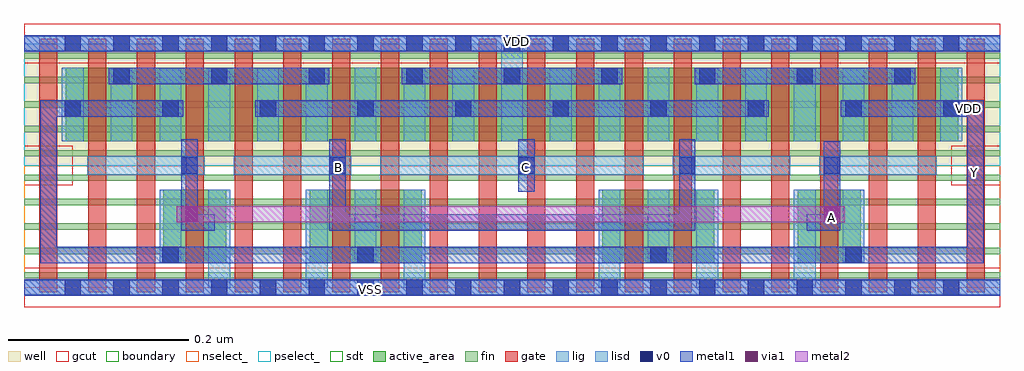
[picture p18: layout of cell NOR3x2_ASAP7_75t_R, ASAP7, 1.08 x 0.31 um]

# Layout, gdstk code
import gdstk
lib = gdstk.Library(unit=1e-6, precision=1e-09)
def R(c, l, rs):  # rectangles x0, y0, x1, y1
    for r in rs: c.add(gdstk.rectangle(r[:2], r[2:], *l))
def A(c, l, x, y, w, h, nx, ny, dx, dy):  # array of equal rectangles
    R(c, l, [(x+i*dx, y+j*dy, x+i*dx+w, y+j*dy+h) for i in range(nx) for j in range(ny)])
def P(c, l, *ps):  # polygons
    for p in ps: c.add(gdstk.Polygon(p, *l))
well = (1, 0)
fin = (2, 0)
gate = (7, 0)
gcut = (10, 0)
active_area = (11, 0)
nselect_ = (12, 0)
pselect_ = (13, 0)
lig = (16, 0)
lisd = (17, 0)
v0 = (18, 0)
metal1 = (19, 0)
metal2 = (20, 0)
via1 = (21, 0)
sdt = (88, 0)
boundary = (100, 0)

nor3x2_asap7_75t_r = lib.new_cell('NOR3x2_ASAP7_75t_R')
R(nor3x2_asap7_75t_r, well, [(0,0.135,1.08,0.27)])
A(nor3x2_asap7_75t_r, fin, 0, 0.01, 1.08, 0.007, 1, 10, 0, 0.027)
A(nor3x2_asap7_75t_r, gate, 0.017, -0.005, 0.02, 0.28, 20, 1, 0.054, 0)
R(nor3x2_asap7_75t_r, gcut, [(0,-0.022,1.08,0.022), (0,0.113,0.054,0.157), (1.026,0.113,1.08,0.157), (0,0.248,1.08,0.292)])
R(nor3x2_asap7_75t_r, active_area, [(0.154,0.027,0.224,0.108), (0.316,0.027,0.44,0.108), (0.64,0.027,0.764,0.108), (0.856,0.027,0.926,0.108), (0.046,0.162,1.034,0.243)])
R(nor3x2_asap7_75t_r, nselect_, [(0,0,1.08,0.135)])
R(nor3x2_asap7_75t_r, pselect_, [(0,0.135,1.08,0.27)])
R(nor3x2_asap7_75t_r, lig, [(0,-0.008,1.08,0.008), (0.07,0.125,0.2,0.145), (0.232,0.125,0.362,0.145), (0.394,0.125,0.686,0.145), (0.718,0.125,0.848,0.145), (0.88,0.125,1.01,0.145), (0,0.262,1.08,0.278)])
A(nor3x2_asap7_75t_r, lisd, 0.204, 0, 0.024, 0.108, 3, 1, 0.108, 0)
A(nor3x2_asap7_75t_r, lisd, 0.636, 0, 0.024, 0.108, 3, 1, 0.108, 0)
A(nor3x2_asap7_75t_r, lisd, 0.042, 0.162, 0.024, 0.081, 9, 1, 0.054, 0)
A(nor3x2_asap7_75t_r, lisd, 0.582, 0.162, 0.024, 0.081, 9, 1, 0.054, 0)
R(nor3x2_asap7_75t_r, lisd, [(0.15,0.027,0.174,0.108), (0.366,0.027,0.39,0.108), (0.69,0.027,0.714,0.108), (0.906,0.027,0.93,0.108), (0.528,0.162,0.552,0.27)])
A(nor3x2_asap7_75t_r, v0, 0.045, -0.009, 0.018, 0.018, 19, 2, 0.054, 0.27)
A(nor3x2_asap7_75t_r, v0, 0.045, 0.189, 0.018, 0.018, 10, 1, 0.108, 0)
A(nor3x2_asap7_75t_r, v0, 0.099, 0.225, 0.018, 0.018, 9, 1, 0.108, 0)
R(nor3x2_asap7_75t_r, v0, [(0.153,0.027,0.171,0.045), (0.369,0.027,0.387,0.045), (0.693,0.027,0.711,0.045), (0.909,0.027,0.927,0.045), (0.174,0.126,0.192,0.144), (0.338,0.126,0.356,0.144), (0.547,0.126,0.565,0.144), (0.725,0.126,0.743,0.144), (0.885,0.126,0.903,0.144)])
A(nor3x2_asap7_75t_r, metal1, 0.094, 0.225, 0.244, 0.018, 3, 1, 0.324, 0)
R(nor3x2_asap7_75t_r, metal1, [(0,-0.009,1.08,0.009), (0.547,0.106,0.565,0.164), (0.256,0.189,0.824,0.207), (0,0.261,1.08,0.279)])
P(nor3x2_asap7_75t_r, metal1, [(0.018,0.027),(0.018,0.207),(0.176,0.207),(0.176,0.189),(0.036,0.189),(0.036,0.045),(1.044,0.045),(1.044,0.189),(0.904,0.189),(0.904,0.207),(1.062,0.207),(1.062,0.027)],
  [(0.174,0.063),(0.174,0.164),(0.192,0.164),(0.192,0.081),(0.211,0.081),(0.211,0.063)],
  [(0.338,0.063),(0.338,0.164),(0.356,0.164),(0.356,0.081),(0.725,0.081),(0.725,0.164),(0.743,0.164),(0.743,0.063)],
  [(0.866,0.063),(0.866,0.081),(0.885,0.081),(0.885,0.162),(0.903,0.162),(0.903,0.063)])
R(nor3x2_asap7_75t_r, metal2, [(0.169,0.072,0.908,0.09)])
R(nor3x2_asap7_75t_r, via1, [(0.174,0.072,0.192,0.09), (0.885,0.072,0.903,0.09)])
A(nor3x2_asap7_75t_r, sdt, 0.312, 0.027, 0.024, 0.081, 3, 1, 0.054, 0)
A(nor3x2_asap7_75t_r, sdt, 0.636, 0.027, 0.024, 0.081, 3, 1, 0.054, 0)
A(nor3x2_asap7_75t_r, sdt, 0.042, 0.162, 0.024, 0.081, 19, 1, 0.054, 0)
R(nor3x2_asap7_75t_r, sdt, [(0.15,0.027,0.174,0.108), (0.204,0.027,0.228,0.108), (0.852,0.027,0.876,0.108), (0.906,0.027,0.93,0.108)])
R(nor3x2_asap7_75t_r, boundary, [(0,0,1.08,0.27)])
nor3x2_asap7_75t_r.add(gdstk.Label('C', (0.555,0.133), layer=19, texttype=251))
nor3x2_asap7_75t_r.add(gdstk.Label('B', (0.348,0.133), layer=19, texttype=251))
nor3x2_asap7_75t_r.add(gdstk.Label('Y', (1.052,0.127), layer=19, texttype=251))
nor3x2_asap7_75t_r.add(gdstk.Label('VSS', (0.383,-0.002), layer=19, texttype=251))
nor3x2_asap7_75t_r.add(gdstk.Label('VDD', (0.545,0.272), layer=19, texttype=251))
nor3x2_asap7_75t_r.add(gdstk.Label('VDD', (1.045,0.198), layer=1, texttype=251))
nor3x2_asap7_75t_r.add(gdstk.Label('VSS', (0.689,-0.105), layer=3, texttype=251))
nor3x2_asap7_75t_r.add(gdstk.Label('A', (0.894,0.078), layer=20, texttype=251))

lib.write_gds('NOR3x2_ASAP7_75t_R.gds')
